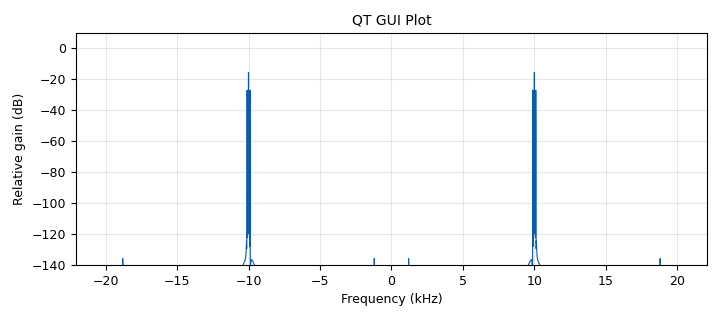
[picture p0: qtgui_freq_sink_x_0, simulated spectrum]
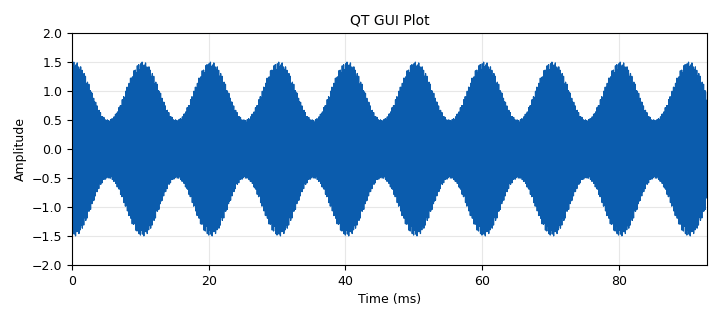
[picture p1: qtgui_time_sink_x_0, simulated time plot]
<?xml version='1.0' encoding='utf-8'?>
<?grc format='1' created='3.7.9'?>
<flow_graph>
<block>
<key>options</key>
<param><key>id</key><value>top_block</value></param>
<param><key>category</key><value>Custom</value></param>
<param><key>generate_options</key><value>qt_gui</value></param>
</block>
<block>
<key>variable_qtgui_range</key>
<param><key>id</key><value>carrier</value></param>
<param><key>value</key><value>10000</value></param>
<param><key>label</key><value>carrier frequency</value></param>
<param><key>orient</key><value>Qt.Horizontal</value></param>
<param><key>start</key><value>5000</value></param>
<param><key>step</key><value>1</value></param>
<param><key>stop</key><value>20000</value></param>
</block>
<block>
<key>variable_qtgui_range</key>
<param><key>id</key><value>m</value></param>
<param><key>value</key><value>.5</value></param>
<param><key>label</key><value>modulating amplitude</value></param>
<param><key>orient</key><value>Qt.Horizontal</value></param>
<param><key>start</key><value>0</value></param>
<param><key>step</key><value>.01</value></param>
<param><key>stop</key><value>1</value></param>
</block>
<block>
<key>variable_qtgui_range</key>
<param><key>id</key><value>modulating_freq</value></param>
<param><key>value</key><value>100</value></param>
<param><key>label</key><value>modulating frequency</value></param>
<param><key>orient</key><value>Qt.Horizontal</value></param>
<param><key>start</key><value>1</value></param>
<param><key>step</key><value>1</value></param>
<param><key>stop</key><value>1000</value></param>
</block>
<block>
<key>variable</key>
<param><key>id</key><value>samp_rate</value></param>
<param><key>value</key><value>44100</value></param>
</block>
<block>
<key>analog_sig_source_x</key>
<param><key>id</key><value>analog_sig_source_x_0</value></param>
<param><key>amp</key><value>1</value></param>
<param><key>freq</key><value>carrier</value></param>
<param><key>offset</key><value>0</value></param>
<param><key>type</key><value>float</value></param>
<param><key>samp_rate</key><value>samp_rate</value></param>
<param><key>waveform</key><value>analog.GR_SIN_WAVE</value></param>
</block>
<block>
<key>analog_sig_source_x</key>
<param><key>id</key><value>analog_sig_source_x_0_0_0</value></param>
<param><key>amp</key><value>m</value></param>
<param><key>freq</key><value>modulating_freq</value></param>
<param><key>offset</key><value>0</value></param>
<param><key>type</key><value>float</value></param>
<param><key>samp_rate</key><value>samp_rate</value></param>
<param><key>waveform</key><value>analog.GR_SIN_WAVE</value></param>
</block>
<block>
<key>blocks_add_xx</key>
<param><key>id</key><value>blocks_add_xx_0</value></param>
<param><key>type</key><value>float</value></param>
</block>
<block>
<key>blocks_multiply_xx</key>
<param><key>id</key><value>blocks_multiply_xx_0</value></param>
<param><key>type</key><value>float</value></param>
</block>
<block>
<key>blocks_throttle</key>
<param><key>id</key><value>blocks_throttle_0</value></param>
<param><key>samples_per_second</key><value>samp_rate</value></param>
<param><key>type</key><value>float</value></param>
</block>
<block>
<key>qtgui_freq_sink_x</key>
<param><key>id</key><value>qtgui_freq_sink_x_0</value></param>
<param><key>bw</key><value>samp_rate </value></param>
<param><key>fc</key><value>0</value></param>
<param><key>fftsize</key><value>1024 * 8</value></param>
<param><key>name</key><value>QT GUI Plot</value></param>
<param><key>showports</key><value>True</value></param>
<param><key>type</key><value>float</value></param>
<param><key>wintype</key><value>firdes.WIN_BLACKMAN_hARRIS</value></param>
</block>
<block>
<key>qtgui_time_sink_x</key>
<param><key>id</key><value>qtgui_time_sink_x_0</value></param>
<param><key>color1</key><value>"blue"</value></param>
<param><key>label1</key><value></value></param>
<param><key>name</key><value>QT GUI Plot</value></param>
<param><key>size</key><value>1024 * 4</value></param>
<param><key>srate</key><value>samp_rate</value></param>
<param><key>tr_level</key><value>0.95</value></param>
<param><key>tr_mode</key><value>qtgui.TRIG_MODE_AUTO</value></param>
<param><key>type</key><value>float</value></param>
<param><key>ymax</key><value>2</value></param>
<param><key>ymin</key><value>-2</value></param>
</block>
<connection><source_block_id>analog_sig_source_x_0</source_block_id><sink_block_id>blocks_add_xx_0</sink_block_id><source_key>0</source_key><sink_key>1</sink_key></connection>
<connection><source_block_id>analog_sig_source_x_0</source_block_id><sink_block_id>blocks_multiply_xx_0</sink_block_id><source_key>0</source_key><sink_key>1</sink_key></connection>
<connection><source_block_id>analog_sig_source_x_0_0_0</source_block_id><sink_block_id>blocks_multiply_xx_0</sink_block_id><source_key>0</source_key><sink_key>0</sink_key></connection>
<connection><source_block_id>blocks_add_xx_0</source_block_id><sink_block_id>blocks_throttle_0</sink_block_id><source_key>0</source_key><sink_key>0</sink_key></connection>
<connection><source_block_id>blocks_multiply_xx_0</source_block_id><sink_block_id>blocks_add_xx_0</sink_block_id><source_key>0</source_key><sink_key>0</sink_key></connection>
<connection><source_block_id>blocks_throttle_0</source_block_id><sink_block_id>qtgui_freq_sink_x_0</sink_block_id><source_key>0</source_key><sink_key>0</sink_key></connection>
<connection><source_block_id>blocks_throttle_0</source_block_id><sink_block_id>qtgui_time_sink_x_0</sink_block_id><source_key>0</source_key><sink_key>0</sink_key></connection>
</flow_graph>
